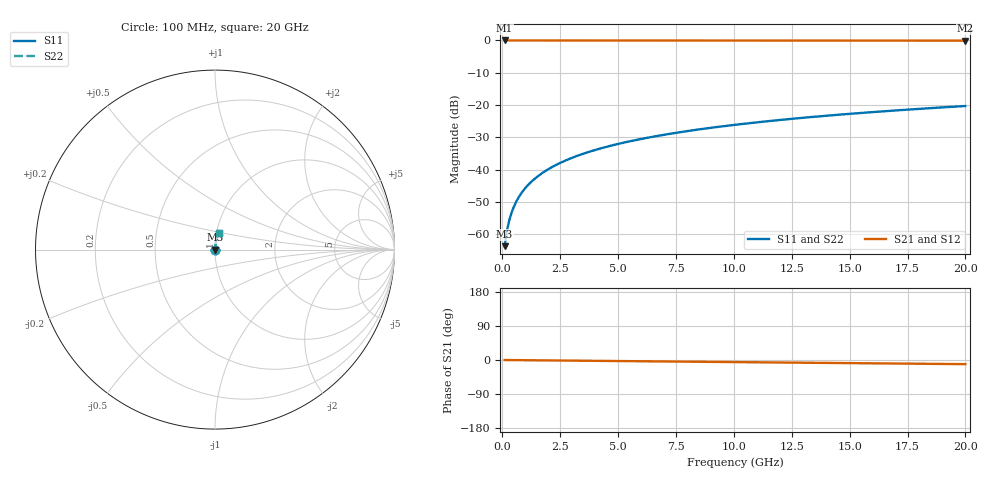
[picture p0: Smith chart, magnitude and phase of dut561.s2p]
! Touchstone file exported from HFSS 2026.1.0
!  File:  C:/ffzhzh/LocalFiles/Ansys_Project_Files/temp_train_TSV_561_1783024496_53980.aedt
!  Generated:  04:37:05 AM Jul  3, 2026
!  Design:  TSV
!  Project:  temp_train_TSV_561_1783024496_53980
! Variables:
!  h_bsmrdl = 2um
!  h_ox = 20um
!  h_rdl = 5um
!  h_sub = 91.9um
!  h_tmrdl = 5um
!  h_tsv = 91.9um
!  h_via = 3um
!  l_bsmrdl = 300um
!  l_sub = 410.94um
!  l_tmrdl = 200um
!  m_sub = 200um
!  pitch = 51.74um
!  r_tsv = 5.47um
!  s_tmrdl = 10um
!  w_bsmrdl = 18um
!  w_sub = 500um
!  w_tmrdl = 12um
!  x_tsv_center1 = 206um
!  x_tsv_center2 = 524um
!  x_tsv_center3 = 736um
!  x_tsv_center4 = 1054um
!  x_tsv_center5 = 1266um
!  x_tsv_center6 = 1584um
# GHz S MA R 50.000000
! Terminal data exported
! Port[1] = TSV1_1_T1
! Port[2] = TSV1_1_T2
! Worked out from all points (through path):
!   200 points, 100 MHz to 20 GHz, reference 50 ohm
!   highest |S21| = 0.00 dB at 100 MHz (marker M1); lowest = -0.1 dB at 20 GHz (marker M2)
!   group delay of S21, straight-line fit = 1.52 ps
!   lowest |S11| = -63.7 dB at 100 MHz (marker M3), VSWR 1.00, Z = 50 + j0.0534 ohm
!   |S11| at or under -10 dB: start of sweep to end of sweep
!   |S22| runs from -63.7 to -20.3 dB; largest |S21 - S12| = 3.3e-15
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0.1  0.0006567 54.4  0.9996 -0.1  0.9996 -0.1  0.0006567 54.4
! Gamma 0 0 0 0
! Port Impedance 50 0 50 0
0.2  0.001136 69.8  0.9996 -0.1  0.9996 -0.1  0.001136 69.8
0.3  0.001647 75.6  0.9996 -0.2  0.9996 -0.2  0.001647 75.6
0.4  0.002164 78.6  0.9996 -0.2  0.9996 -0.2  0.002164 78.6
0.5  0.002681 80.3  0.9996 -0.3  0.9996 -0.3  0.002681 80.3
0.6  0.003196 81.4  0.9995 -0.3  0.9995 -0.3  0.003196 81.4
0.7  0.003709 82.1  0.9995 -0.4  0.9995 -0.4  0.003709 82.1
0.8  0.004219 82.7  0.9995 -0.5  0.9995 -0.5  0.004219 82.7
1  0.005233 83.5  0.9994 -0.6  0.9994 -0.6  0.005233 83.5
1.4  0.007247 84.4  0.9994 -0.8  0.9994 -0.8  0.007247 84.4
1.7  0.008751 84.7  0.9993 -1.0  0.9993 -1.0  0.008751 84.7
2  0.01025 84.9  0.9992 -1.1  0.9992 -1.1  0.01025 84.9
2.7  0.01374 85.1  0.9991 -1.5  0.9991 -1.5  0.01374 85.1
3.5  0.0177 85.1  0.9989 -2.0  0.9989 -2.0  0.0177 85.1
4.2  0.02115 84.9  0.9988 -2.3  0.9988 -2.3  0.02115 84.9
5  0.02507 84.7  0.9986 -2.8  0.9986 -2.8  0.02507 84.7
6.8  0.03383 84.0  0.9981 -3.8  0.9981 -3.8  0.03383 84.0
8.3  0.04109 83.4  0.9977 -4.6  0.9977 -4.6  0.04109 83.4
10.1  0.04977 82.6  0.9972 -5.6  0.9972 -5.6  0.04977 82.6
13.4  0.0656 81.0  0.996 -7.4  0.996 -7.4  0.0656 81.0
16.7  0.08127 79.4  0.9947 -9.2  0.9947 -9.2  0.08127 79.4
20  0.09677 77.7  0.9931 -10.9  0.9931 -10.9  0.09677 77.7
